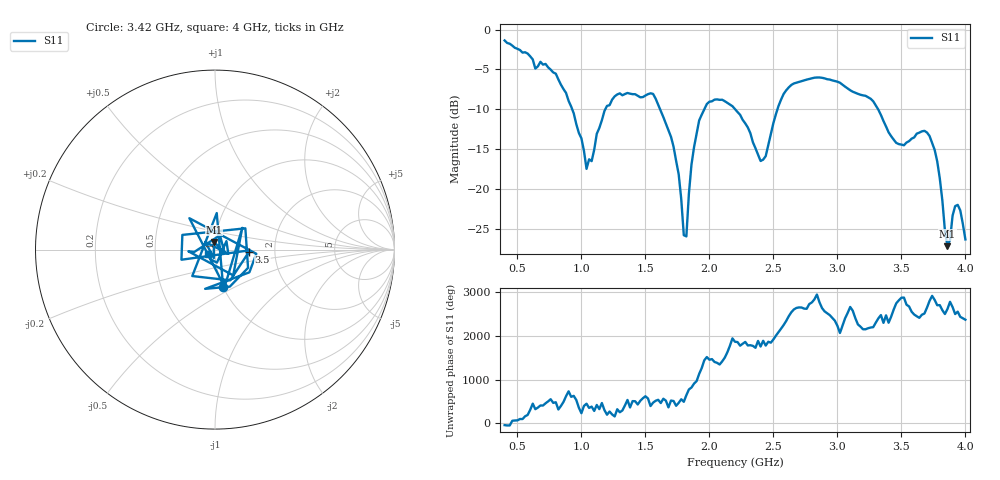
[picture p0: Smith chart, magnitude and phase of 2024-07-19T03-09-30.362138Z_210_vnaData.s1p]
!Created with skrf (http://scikit-rf.org).
# Hz S RI R 50.0
!freq ReS11 ImS11
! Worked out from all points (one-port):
!   181 points, 400 MHz to 4 GHz, reference 50 ohm
!   lowest |S11| = -27.2 dB at 3.86 GHz (marker M1), VSWR 1.09, Z = 49.2 + j4.26 ohm
!   |S11| at or under -10 dB: 1.615 GHz to 1.961 GHz (345.6 MHz wide, 19.3 % of centre); 2.201 GHz to 2.532 GHz (331.3 MHz wide, 14 % of centre); 3.318 GHz to end of sweep (the widest 3 of 4)
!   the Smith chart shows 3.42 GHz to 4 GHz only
!   S11 on the Smith chart (normalised r, x): 3.42 GHz: 1.00, -0.44; 3.5 GHz: 1.47, -0.04; 4 GHz: 0.92, -0.05
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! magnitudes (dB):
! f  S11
! 400 MHz  -1.4
! 860 MHz  -7.5
! 1 GHz  -13.7
! 1.04 GHz  -17.5
! 1.18 GHz  -10.2
! 1.3 GHz  -8.0
! 1.56 GHz  -8.1
! 1.7 GHz  -13.5
! 1.76 GHz  -18.2
! 1.8 GHz  -25.8
! 1.82 GHz  -26.0
! 1.86 GHz  -17.0
! 1.92 GHz  -11.4
! 2.04 GHz  -8.8
! 2.2 GHz  -10.0
! 2.4 GHz  -16.5
! 2.56 GHz  -8.8
! 2.66 GHz  -6.8
! 3.1 GHz  -7.6
! 3.28 GHz  -9.0
! 3.42 GHz  -13.4
! 3.5 GHz  -14.4
! 3.56 GHz  -14.0
! 3.74 GHz  -14.2
! 3.8 GHz  -18.7
! 3.86 GHz  -27.2
! 3.94 GHz  -22.0
! 4 GHz  -26.4
